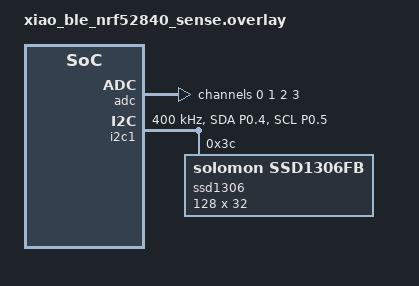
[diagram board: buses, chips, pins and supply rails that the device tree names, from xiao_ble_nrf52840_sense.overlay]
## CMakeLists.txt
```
cmake_minimum_required(VERSION 3.20.0)
find_package(Zephyr REQUIRED HINTS $ENV{ZEPHYR_BASE})

project(controller)

target_sources(app PRIVATE
    src/main.c
    src/IQS7211E.c
    src/i2c_arduino.c
    src/controller_storage.c
    src/drv2605.c
    src/display.c
    src/haptic_driver.c
    src/imu_driver.c
    src/button_driver.c
    src/analog_driver.c
    src/esb_comm_driver.c
    src/power_mgmt_driver.c
    # src/trackpad_driver.c  # Temporarily disabled while fixing IQS7211E
)
```

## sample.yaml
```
name: ESB Controller
```

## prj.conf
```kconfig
CONFIG_ESB=y
CONFIG_LOG=n
CONFIG_SERIAL=n
CONFIG_CONSOLE=n
CONFIG_UART_CONSOLE=n
CONFIG_GPIO=y
CONFIG_ADC_ASYNC=y
# Enable ADC for analog inputs
CONFIG_ADC=y

# Enable I2C for trackpad and display
CONFIG_I2C=y

# Disable NFC to free up P0.09 and P0.10 for DRV2605 haptic control
CONFIG_NFCT_PINS_AS_GPIOS=y

# Display support for SSD1306
CONFIG_DISPLAY=y
CONFIG_SSD1306=y

# LVGL Graphics Library (temporarily disabled - causing boot issues)
# CONFIG_LVGL=y
# CONFIG_LV_Z_VDB_SIZE=16
# CONFIG_LV_COLOR_DEPTH_1=y
# CONFIG_LV_Z_MEM_POOL_SIZE=8192

# Enable sensor subsystem for IMU
CONFIG_SENSOR=y
CONFIG_LSM6DSL=y

# Enable ESB
CONFIG_ESB_MAX_PAYLOAD_LENGTH=32

# Settings subsystem for NVS storage
CONFIG_SETTINGS=y
CONFIG_SETTINGS_NVS=y
CONFIG_NVS=y
CONFIG_FLASH=y
CONFIG_FLASH_MAP=y
CONFIG_MPU_ALLOW_FLASH_WRITE=y

# Power Management for nRF52840
CONFIG_PM=y
CONFIG_POWEROFF=y
CONFIG_PM_DEVICE=y
CONFIG_TICKLESS_KERNEL=y
CONFIG_GPIO_ENABLE_DISABLE_INTERRUPT=y

# Enable SAADC driver
CONFIG_NRFX_SAADC=y

# Logging levels
CONFIG_LOG_DEFAULT_LEVEL=3
CONFIG_ESB_LOG_LEVEL_INF=n
CONFIG_LOG_PRINTK=n
CONFIG_LOG_PROCESS_THREAD_STACK_SIZE=1024

# System
CONFIG_MAIN_STACK_SIZE=2048
CONFIG_SYSTEM_WORKQUEUE_STACK_SIZE=2048
```

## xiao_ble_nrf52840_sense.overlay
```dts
/*
 * Device tree overlay for Seeed Xiao BLE nRF52840 Sense
 * I2C0 and built-in LSM6DS3 IMU are already configured in base DTS
 * I2C1 reserved for external trackpad when connected
 */

/ {
    chosen {
        zephyr,display = &ssd1306;
    };

    /* Configure NFC pins as GPIOs for DRV2605 haptic control */
    nfct-pins-as-gpios;
};
&uart0 {
    status = "disabled";
};

/* Enable ADC for analog inputs */
&adc {
    status = "okay";
    #address-cells = <1>;
    #size-cells = <0>;

    channel@0 {
        reg = <0>;
        zephyr,gain = "ADC_GAIN_1_6";
        zephyr,reference = "ADC_REF_INTERNAL";
        zephyr,acquisition-time = <ADC_ACQ_TIME(ADC_ACQ_TIME_MICROSECONDS, 10)>;
        zephyr,input-positive = <NRF_SAADC_AIN0>; /* P0.02/StickX */
    };

    channel@1 {
        reg = <1>;
        zephyr,gain = "ADC_GAIN_1_6";
        zephyr,reference = "ADC_REF_INTERNAL";
        zephyr,acquisition-time = <ADC_ACQ_TIME(ADC_ACQ_TIME_MICROSECONDS, 10)>;
        zephyr,input-positive = <NRF_SAADC_AIN1>; /* P0.03/StickY */
    };

    channel@2 {
        reg = <2>;
        zephyr,gain = "ADC_GAIN_1_6";
        zephyr,reference = "ADC_REF_INTERNAL";
        zephyr,acquisition-time = <ADC_ACQ_TIME(ADC_ACQ_TIME_MICROSECONDS, 10)>;
        zephyr,input-positive = <NRF_SAADC_AIN4>; /* P0.28/Trigger */
    };

    channel@3 {
        reg = <3>;
        zephyr,gain = "ADC_GAIN_1_6";
        zephyr,reference = "ADC_REF_INTERNAL";
        zephyr,acquisition-time = <ADC_ACQ_TIME(ADC_ACQ_TIME_MICROSECONDS, 10)>;
        zephyr,input-positive = <NRF_SAADC_AIN7>; /* P0.31/Battery */
    };
};

&i2c1 {
    compatible = "nordic,nrf-twim";
    status = "okay";
    clock-frequency = <I2C_BITRATE_FAST>; // 400kHz

    pinctrl-0 = <&i2c1_default>;
    pinctrl-1 = <&i2c1_sleep>;
    pinctrl-names = "default", "sleep";

    /* --- TWIM internal buffer tuning --- */
    /* Max size of a single “flash-like” chunk the driver will send */
    zephyr,flash-buf-max-size = <255>;     /* or <255>; both are fine */

    /* Size of the internal concat buffer (must be >= addr/control bytes + chunk) */
    zephyr,concat-buf-size = <514>;        /* safe for 1 + 128; use <258> if you set 255 above */

    /* SSD1306 128x32 OLED display */
    ssd1306: ssd1306@3c {
        compatible = "solomon,ssd1306fb";
        reg = <0x3c>;
        width = <128>;
        height = <32>;
        segment-offset = <0>;
        page-offset = <0>;
        display-offset = <0>;
        multiplex-ratio = <31>;
        segment-remap;
        com-invdir;
        com-sequential;
        prechargep = <0x22>;
    };

    // Reserved for external trackpad when connected
};

&pinctrl {

    i2c1_default: i2c1_default {
        group1 {
            psels = <NRF_PSEL(TWIM_SDA, 0, 4)>,
                    <NRF_PSEL(TWIM_SCL, 0, 5)>;
        };
    };

    i2c1_sleep: i2c1_sleep {
        group1 {
            psels = <NRF_PSEL(TWIM_SDA, 0, 4)>,
                    <NRF_PSEL(TWIM_SCL, 0, 5)>;
            low-power-enable;
        };
    };
};
```

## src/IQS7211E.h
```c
/**
 ******************************************************************************
 * @file    IQS7211E.h
 * @brief   This file contains the header information for an IQS7211E Arduino
 *          library.
 *          The goal of the library is to provide easy functionality for
 *          initializing and using the Azoteq IQS7211E capacitive touch device.
 * @author  JN. Lochner - Azoteq PTY Ltd
 * @version V1.1
 * @date    2023
 ******************************************************************************
 ******************************************************************************
 * @attention  Makes use of the following standard Arduino libraries:
 *       - Arduino.h   -> included in IQS7211E.h, comes standard with Arduino
 *       - Wire.h      -> Included in IQS7211E.h, comes standard with Arduino
 *****************************************************************************/

#ifndef IQS7211E_h
#define IQS7211E_h

/* Include Files */
#include "i2c_arduino.h"
#include "./inc/iqs7211e_addresses.h"

/* Device Firmware version select */
#define IQS7211E_v1_0 1

/* Public Global Definitions */
/* For use with Wire.h library. True argument with some functions closes the
I2C communication window. */
#define STOP true
/* For use with Wire.h library. False argument with some functions keeps the
I2C communication window open. */
#define RESTART false

/* Device Info */
#define IQS7211E_PRODUCT_NUM 0x0458

// Info Flags Byte Bits.
#define IQS7211E_CHARGING_MODE_BIT_0 0
#define IQS7211E_CHARGING_MODE_BIT_1 1
#define IQS7211E_CHARGING_MODE_BIT_2 2
#define IQS7211E_ACTIVE_BITS 0b000
#define IQS7211E_IDLE_TOUCH_BITS 0b001
#define IQS7211E_IDLE_BITS 0b010
#define IQS7211E_LP1_BITS 0b011
#define IQS7211E_LP2_BITS 0b100
#define IQS7211E_ATI_ERROR_BIT 3
#define IQS7211E_RE_ATI_OCCURRED_BIT 4
#define IQS7211E_ALP_ATI_ERROR_BIT 5
#define IQS7211E_ALP_RE_ATI_OCCURRED_BIT 4
#define IQS7211E_SHOW_RESET_BIT 7
#define IQS7211E_NUM_FINGERS_BIT_0 0 // 8
#define IQS7211E_NUM_FINGERS_BIT_1 1 // 9
#define IQS7211E_NO_FINGERS_BITS 0b00
#define IQS7211E_1_FINGER_ACTIVE_BITS 0b01
#define IQS7211E_2_FINGER_ACTIVE_BITS 0b10
#define IQS7211E_TP_MOVEMENT_BIT 2      // 10
#define IQS7211E_TOO_MANY_FINGERS_BIT 4 // 12
#define IQS7211E_ALP_OUTPUT_BIT 6       // 14

// System Control Bits
#define IQS7211E_MODE_SELECT_BIT_0 0
#define IQS7211E_MODE_SELECT_BIT_1 1
#define IQS7211E_MODE_SELECT_BIT_2 2
#define IQS7211E_TP_RESEED_BIT 3
#define IQS7211E_ALP_RESEED_BIT 4
#define IQS7211E_TP_RE_ATI_BIT 5
#define IQS7211E_ALP_RE_ATI_BIT 6
#define IQS7211E_ACK_RESET_BIT 7
#define IQS7211E_SW_RESET_BIT 1 // 9
#define IQS7211E_SUSPEND_BIT 3  // 11

// Config Settings Bits
#define IQS7211E_EVENT_MODE_BIT 0 // 8

// Gesture Bits
#define IQS7211E_GESTURE_SINGLE_TAP_BIT 0
#define IQS7211E_GESTURE_DOUBLE_TAP_BIT 1
#define IQS7211E_GESTURE_TRIPLE_TAP_BIT 2
#define IQS7211E_GESTURE_PRESS_HOLD_BIT 3
#define IQS7211E_GESTURE_PALM_GESTURE_BIT 4
#define IQS7211E_GESTURE_SWIPE_X_POSITIVE_BIT 0      // 8
#define IQS7211E_GESTURE_SWIPE_X_NEGATIVE_BIT 1      // 9
#define IQS7211E_GESTURE_SWIPE_Y_POSITIVE_BIT 2      // 10
#define IQS7211E_GESTURE_SWIPE_Y_NEGATIVE_BIT 3      // 11
#define IQS7211E_GESTURE_SWIPE_HOLD_X_POSITIVE_BIT 4 // 12
#define IQS7211E_GESTURE_SWIPE_HOLD_X_NEGATIVE_BIT 5 // 13
#define IQS7211E_GESTURE_SWIPE_HOLD_Y_POSITIVE_BIT 6 // 14
#define IQS7211E_GESTURE_SWIPE_HOLD_Y_NEGATIVE_BIT 7 // 15

#define FINGER_1 1
#define FINGER_2 2

/* Defines and structs for IQS7211E states */
/**
 * @brief  iqs7211e Init Enumeration.
 */
typedef enum
{
    IQS7211E_INIT_NONE = (uint8_t)0x00,
    IQS7211E_INIT_VERIFY_PRODUCT,
    IQS7211E_INIT_READ_RESET,
    IQS7211E_INIT_CHIP_RESET,
    IQS7211E_INIT_UPDATE_SETTINGS,
    IQS7211E_INIT_CHECK_RESET,
    IQS7211E_INIT_ACK_RESET,
    IQS7211E_INIT_ATI,
    IQS7211E_INIT_WAIT_FOR_ATI,
    IQS7211E_INIT_READ_DATA,
    IQS7211E_INIT_ACTIVATE_EVENT_MODE,
    IQS7211E_INIT_ACTIVATE_STREAM_MODE,
    IQS7211E_INIT_DONE
} iqs7211e_init_e;

typedef enum
{
    IQS7211E_STATE_NONE = (uint8_t)0x00,
    IQS7211E_STATE_START,
    IQS7211E_STATE_INIT,
    IQS7211E_STATE_SW_RESET,
    IQS7211E_STATE_CHECK_RESET,
    IQS7211E_STATE_RUN,
} iqs7211e_state_e;

typedef enum
{
    IQS7211E_CH_NONE = (uint8_t)0x00,
    IQS7211E_CH_PROX,
    IQS7211E_CH_TOUCH,
    IQS7211E_CH_UNKNOWN,
} iqs7211e_ch_states;
typedef enum
{
    IQS7211E_ACTIVE = (uint8_t)0x00,
    IQS7211E_IDLE_TOUCH,
    IQS7211E_IDLE,
    IQS7211E_LP1,
    IQS7211E_LP2,
    IQS7211E_POWER_UNKNOWN
} iqs7211e_power_modes;

typedef enum
{
    IQS7211E_GESTURE_SINGLE_TAP = (uint8_t)0x00,
    IQS7211E_GESTURE_DOUBLE_TAP,
    IQS7211E_GESTURE_TRIPLE_TAP,
    IQS7211E_GESTURE_PRESS_HOLD,
    IQS7211E_GESTURE_PALM_GESTURE,
    IQS7211E_GESTURE_SWIPE_X_POSITIVE,
    IQS7211E_GESTURE_SWIPE_X_NEGATIVE,
    IQS7211E_GESTURE_SWIPE_Y_POSITIVE,
    IQS7211E_GESTURE_SWIPE_Y_NEGATIVE,
    IQS7211E_GESTURE_SWIPE_HOLD_X_POSITIVE,
    IQS7211E_GESTURE_SWIPE_HOLD_X_NEGATIVE,
    IQS7211E_GESTURE_SWIPE_HOLD_Y_POSITIVE,
    IQS7211E_GESTURE_SWIPE_HOLD_Y_NEGATIVE,
    IQS7211E_GESTURE_NONE,
} iqs7211e_gestures_e;

/* IQS7211E Memory map data variables, only save the data that might be used
during program runtime */
#pragma pack(1)
typedef struct
{
    /* READ ONLY */              //  I2C Addresses:
    uint8_t VERSION_DETAILS[20]; // 	0x00 -> 0x09
    uint8_t GESTURES[2];         // 	0x0E
    uint8_t INFO_FLAGS[2];       // 	0x0F
    uint8_t FINGER_1_X[2];       // 	0x10
    uint8_t FINGER_1_Y[2];       // 	0x11
    uint8_t FINGER_2_X[2];       // 	0x14
    uint8_t FINGER_2_Y[2];       // 	0x15

    /* READ WRITE */           //  I2C Addresses:
    uint8_t SYSTEM_CONTROL[2]; // 	0x33
} IQS7211E_MEMORY_MAP;
#pragma pack(4)

#pragma pack(1)
typedef struct
{
    iqs7211e_state_e state;
    iqs7211e_init_e init_state;
} iqs7211e_s;
#pragma pack(4)

typedef struct
{
    // Public variables from the class
    iqs7211e_s iqs7211e_state;
    IQS7211E_MEMORY_MAP IQSMemoryMap;
    bool new_data_available;

    // Private variables (previously private members)
    uint8_t _deviceAddress;
    uint8_t _readyPin; // You'll probably need this too
    ArduinoI2C wire; // Arduino-style I2C wrapper instance
} iqs7211e_instance_t;

/* Public Methods */
void iqs7211e_begin(iqs7211e_instance_t *instance, uint8_t deviceAddressIn, uint8_t readyPinIn);
bool iqs7211e_init(iqs7211e_instance_t *instance);
void iqs7211e_run(iqs7211e_instance_t *instance);
void iqs7211e_queueValueUpdates(iqs7211e_instance_t *instance);
bool iqs7211e_readATIactive(iqs7211e_instance_t *instance);
uint16_t iqs7211e_getProductNum(iqs7211e_instance_t *instance, bool stopOrRestart);
uint8_t iqs7211e_getmajorVersion(iqs7211e_instance_t *instance, bool stopOrRestart);
uint8_t iqs7211e_getminorVersion(iqs7211e_instance_t *instance, bool stopOrRestart);
void iqs7211e_acknowledgeReset(iqs7211e_instance_t *instance, bool stopOrRestart);
void iqs7211e_ReATI(iqs7211e_instance_t *instance, bool stopOrRestart);
void iqs7211e_SW_Reset(iqs7211e_instance_t *instance, bool stopOrRestart);
void iqs7211e_writeMM(iqs7211e_instance_t *instance, bool stopOrRestart);
void iqs7211e_clearRDY(iqs7211e_instance_t *instance, bool stopOrRestart);
bool iqs7211e_getRDYStatus(iqs7211e_instance_t *instance);

void iqs7211e_setStreamMode(iqs7211e_instance_t *instance, bool stopOrRestart);
void iqs7211e_setEventMode(iqs7211e_instance_t *instance, bool stopOrRestart);

void iqs7211e_updateInfoFlags(iqs7211e_instance_t *instance, bool stopOrRestart);
iqs7211e_power_modes iqs7211e_getPowerMode(iqs7211e_instance_t *instance, bool stopOrRestart);
bool iqs7211e_checkReset(iqs7211e_instance_t *instance, bool stopOrRestart);
void iqs7211e_updateAbsCoordinates(iqs7211e_instance_t *instance, bool stopOrRestart, uint8_t fingerNum);
uint16_t iqs7211e_getAbsYCoordinate(iqs7211e_instance_t *instance, uint8_t fingerNum);
uint16_t iqs7211e_getAbsXCoordinate(iqs7211e_instance_t *instance, uint8_t fingerNum);
bool iqs7211e_touchpad_event_occurred(iqs7211e_instance_t *instance);
iqs7211e_gestures_e iqs7211e_get_touchpad_event(iqs7211e_instance_t *instance);
uint8_t iqs7211e_getNumFingers(iqs7211e_instance_t *instance);

void iqs7211e_force_I2C_communication(iqs7211e_instance_t *instance);

/* Utility functions (previously private) */
void iqs7211e_readRandomBytes(iqs7211e_instance_t *instance, uint8_t memoryAddress, uint8_t numBytes, uint8_t bytesArray[], bool stopOrRestart);
void iqs7211e_writeRandomBytes(iqs7211e_instance_t *instance, uint8_t memoryAddress, uint8_t numBytes, uint8_t bytesArray[], bool stopOrRestart);
bool iqs7211e_getBit(uint8_t data, uint8_t bit_number);
uint8_t iqs7211e_setBit(uint8_t data, uint8_t bit_number);
uint8_t iqs7211e_clearBit(uint8_t data, uint8_t bit_number);

#endif /* IQS7211E_h */
```

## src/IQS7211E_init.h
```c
/*
* This file contains all the necessary settings for the IQS7211E and this file can
* be changed from the GUI or edited here
* File:   IQS7211E_init.h
* Author: Azoteq
*/ 

#ifndef IQS7211E_INIT_H
#define IQS7211E_INIT_H

/* Change the ALP ATI Compensation */
/* Memory Map Position 0x1F - 0x20 */
#define ALP_COMPENSATION_A_0                     0x51
#define ALP_COMPENSATION_A_1                     0x01
#define ALP_COMPENSATION_B_0                     0x5A
#define ALP_COMPENSATION_B_1                     0x01

/* Change the ATI Settings */
/* Memory Map Position 0x21 - 0x27 */
#define TP_ATI_MULTIPLIERS_DIVIDERS_0            0xE1
#define TP_ATI_MULTIPLIERS_DIVIDERS_1            0x21
#define TP_COMPENSATION_DIV                      0x06
#define TP_REF_DRIFT_LIMIT                       0x32
#define TP_ATI_TARGET_0                          0x2C
#define TP_ATI_TARGET_1                          0x01
#define TP_MIN_COUNT_REATI_0                     0x32
#define TP_MIN_COUNT_REATI_1                     0x00
#define ALP_ATI_MULTIPLIERS_DIVIDERS_0           0x23
#define ALP_ATI_MULTIPLIERS_DIVIDERS_1           0x02
#define ALP_COMPENSATION_DIV                     0x02
#define ALP_LTA_DRIFT_LIMIT                      0x14
#define ALP_ATI_TARGET_0                         0xC8
#define ALP_ATI_TARGET_1                         0x00

/* Change the Report Rates and Timing */
/* Memory Map Position 0x28 - 0x32 */
#define ACTIVE_MODE_REPORT_RATE_0                0x01
#define ACTIVE_MODE_REPORT_RATE_1                0x00
#define IDLE_TOUCH_MODE_REPORT_RATE_0            0x40
#define IDLE_TOUCH_MODE_REPORT_RATE_1            0x00
#define IDLE_MODE_REPORT_RATE_0                  0x20
#define IDLE_MODE_REPORT_RATE_1                  0x00
#define LP1_MODE_REPORT_RATE_0                   0x80
#define LP1_MODE_REPORT_RATE_1                   0x00
#define LP2_MODE_REPORT_RATE_0                   0x00
#define LP2_MODE_REPORT_RATE_1                   0x01
#define ACTIVE_MODE_TIMEOUT_0                    0x1E
#define ACTIVE_MODE_TIMEOUT_1                    0x00
#define IDLE_TOUCH_MODE_TIMEOUT_0                0x3C
#define IDLE_TOUCH_MODE_TIMEOUT_1                0x00
#define IDLE_MODE_TIMEOUT_0                      0x1E
#define IDLE_MODE_TIMEOUT_1                      0x00
#define LP1_MODE_TIMEOUT_0                       0x1E
#define LP1_MODE_TIMEOUT_1                       0x00
#define REATI_RETRY_TIME                         0x05
#define REF_UPDATE_TIME                          0x08
#define I2C_TIMEOUT_0                            0x64
#define I2C_TIMEOUT_1                            0x00

/* Change the System Settings */
/* Memory Map Position 0x33 - 0x35 */
#define SYSTEM_CONTROL_0                         0x00
#define SYSTEM_CONTROL_1                         0x00
#define CONFIG_SETTINGS0                         0x8C
#define CONFIG_SETTINGS1                         0x45
#define OTHER_SETTINGS_0                         0x10
#define OTHER_SETTINGS_1                         0x00

/* Change the ALP Settings */
/* Memory Map Position 0x36 - 0x37 */
#define ALP_SETUP_0                              0x77
#define ALP_SETUP_1                              0x03
#define ALP_TX_ENABLE_0                          0x08
#define ALP_TX_ENABLE_1                          0x05

/* Change the Thresholds and Debounce Settings */
/* Memory Map Position 0x38 - 0x3A */
#define TRACKPAD_TOUCH_SET_THRESHOLD             0x14
#define TRACKPAD_TOUCH_CLEAR_THRESHOLD           0x0E
#define ALP_THRESHOLD_0                          0x08
#define ALP_THRESHOLD_1                          0x00
#define ALP_SET_DEBOUNCE                         0x04
#define ALP_CLEAR_DEBOUNCE                       0x04

/* Change the Button and ALP count and LTA betas */
/* Memory Map Position 0x3B - 0x3C */
#define ALP_COUNT_BETA_LP1                       0xDC
#define ALP_LTA_BETA_LP1                         0x08
#define ALP_COUNT_BETA_LP2                       0xF0
#define ALP_LTA_BETA_LP2                         0x10

/* Change the Hardware Settings */
/* Memory Map Position 0x3D - 0x40 */
#define TP_CONVERSION_FREQUENCY_UP_PASS_LENGTH   0x02
#define TP_CONVERSION_FREQUENCY_FRACTION_VALUE   0x1A
#define ALP_CONVERSION_FREQUENCY_UP_PASS_LENGTH  0x02
#define ALP_CONVERSION_FREQUENCY_FRACTION_VALUE  0x1A
#define TRACKPAD_HARDWARE_SETTINGS_0             0x03
#define TRACKPAD_HARDWARE_SETTINGS_1             0x9C
#define ALP_HARDWARE_SETTINGS_0                  0x23
#define ALP_HARDWARE_SETTINGS_1                  0x9C

/* Change the Trackpad Settings */
/* Memory Map Position 0x41 - 0x49 */
#define TRACKPAD_SETTINGS_0_0                    0x28
#define TRACKPAD_SETTINGS_0_1                    0x06
#define TRACKPAD_SETTINGS_1_0                    0x06
#define TRACKPAD_SETTINGS_1_1                    0x02
#define X_RESOLUTION_0                           0xFF
#define X_RESOLUTION_1                           0x03
#define Y_RESOLUTION_0                           0xFF
#define Y_RESOLUTION_1                           0x03
#define XY_DYNAMIC_FILTER_BOTTOM_SPEED_0         0x02
#define XY_DYNAMIC_FILTER_BOTTOM_SPEED_1         0x00
#define XY_DYNAMIC_FILTER_TOP_SPEED_0            0x10
#define XY_DYNAMIC_FILTER_TOP_SPEED_1            0x00
#define XY_DYNAMIC_FILTER_BOTTOM_BETA            0x01
#define XY_DYNAMIC_FILTER_STATIC_FILTER_BETA     0x00
#define STATIONARY_TOUCH_MOV_THRESHOLD           0x14
#define FINGER_SPLIT_FACTOR                      0x03
#define X_TRIM_VALUE                             0x14
#define Y_TRIM_VALUE                             0x14

/* Change the Settings Version Numbers */
/* Memory Map Position 0x4A - 0x4A */
#define MINOR_VERSION                            0x00
#define MAJOR_VERSION                            0x00

/* Change the Gesture Settings */
/* Memory Map Position 0x4B - 0x55 */
#define GESTURE_ENABLE_0                         0x00
#define GESTURE_ENABLE_1                         0x00
#define TAP_TOUCH_TIME_0                         0xC8
#define TAP_TOUCH_TIME_1                         0x00
#define TAP_WAIT_TIME_0                          0x96
#define TAP_WAIT_TIME_1                          0x00
#define TAP_DISTANCE_0                           0x32
#define TAP_DISTANCE_1                           0x00
#define HOLD_TIME_0                              0x2C
#define HOLD_TIME_1                              0x01
#define SWIPE_TIME_0                             0x96
#define SWIPE_TIME_1                             0x00
#define SWIPE_X_DISTANCE_0                       0xC8
#define SWIPE_X_DISTANCE_1                       0x00
#define SWIPE_Y_DISTANCE_0                       0xC8
#define SWIPE_Y_DISTANCE_1                       0x00
#define SWIPE_X_CONS_DIST_0                      0x64
#define SWIPE_X_CONS_DIST_1                      0x00
#define SWIPE_Y_CONS_DIST_0                      0x64
#define SWIPE_Y_CONS_DIST_1                      0x00
#define SWIPE_ANGLE                              0x17
#define PALM_THRESHOLD                           0x1E

/* Change the RxTx Mapping */
/* Memory Map Position 0x56 - 0x5C */
#define RX_TX_MAP_0                              0x01
#define RX_TX_MAP_1                              0x02
#define RX_TX_MAP_2                              0x00
#define RX_TX_MAP_3                              0x05
#define RX_TX_MAP_4                              0x04
#define RX_TX_MAP_5                              0x06
#define RX_TX_MAP_6                              0x03
#define RX_TX_MAP_7                              0x07
#define RX_TX_MAP_8                              0x08
#define RX_TX_MAP_9                              0x09
#define RX_TX_MAP_10                             0x0A
#define RX_TX_MAP_11                             0x0B
#define RX_TX_MAP_12                             0x0C
#define RX_TX_MAP_FILLER                         0x00

/* Change the Allocation of channels into cycles 0-9 */
/* Memory Map Position 0x5D - 0x6B */
#define PLACEHOLDER_0                            0x05
#define CH_1_CYCLE_0                             0x00
#define CH_2_CYCLE_0                             0x03
#define PLACEHOLDER_1                            0x05
#define CH_1_CYCLE_1                             0x01
#define CH_2_CYCLE_1                             0x04
#define PLACEHOLDER_2                            0x05
#define CH_1_CYCLE_2                             0x02
#define CH_2_CYCLE_2                             0x05
#define PLACEHOLDER_3                            0x05
#define CH_1_CYCLE_3                             0x06
#define CH_2_CYCLE_3                             0x09
#define PLACEHOLDER_4                            0x05
#define CH_1_CYCLE_4                             0x07
#define CH_2_CYCLE_4                             0x0A
#define PLACEHOLDER_5                            0x05
#define CH_1_CYCLE_5                             0x08
#define CH_2_CYCLE_5                             0x0B
#define PLACEHOLDER_6                            0x05
#define CH_1_CYCLE_6                             0x0C
#define CH_2_CYCLE_6                             0x0F
#define PLACEHOLDER_7                            0x05
#define CH_1_CYCLE_7                             0x0D
#define CH_2_CYCLE_7                             0x10
#define PLACEHOLDER_8                            0x05
#define CH_1_CYCLE_8                             0x0E
#define CH_2_CYCLE_8                             0x11
#define PLACEHOLDER_9                            0x05
#define CH_1_CYCLE_9                             0x12
#define CH_2_CYCLE_9                             0x15

/* Change the Allocation of channels into cycles 10-19 */
/* Memory Map Position 0x6C - 0x7A */
#define PLACEHOLDER_10                           0x05
#define CH_1_CYCLE_10                            0x13
#define CH_2_CYCLE_10                            0x16
#define PLACEHOLDER_11                           0x05
#define CH_1_CYCLE_11                            0x14
#define CH_2_CYCLE_11                            0x17
#define PLACEHOLDER_12                           0x05
#define CH_1_CYCLE_12                            0x18
#define CH_2_CYCLE_12                            0x1B
#define PLACEHOLDER_13                           0x05
#define CH_1_CYCLE_13                            0x19
#define CH_2_CYCLE_13                            0x1C
#define PLACEHOLDER_14                           0x05
#define CH_1_CYCLE_14                            0x1A
#define CH_2_CYCLE_14                            0x1D
#define PLACEHOLDER_15                           0x05
#define CH_1_CYCLE_15                            0x20
#define CH_2_CYCLE_15                            0x21
#define PLACEHOLDER_16                           0x05
#define CH_1_CYCLE_16                            0x1F
#define CH_2_CYCLE_16                            0x22
#define PLACEHOLDER_17                           0x05
#define CH_1_CYCLE_17                            0x1E
#define CH_2_CYCLE_17                            0x23
#define PLACEHOLDER_18                           0x05
#define CH_1_CYCLE_18                            0xFF
#define CH_2_CYCLE_18                            0xFF
#define PLACEHOLDER_19                           0x05
#define CH_1_CYCLE_19                            0xFF
#define CH_2_CYCLE_19                            0xFF

/* Change the Allocation of channels into cycles 20 */
/* Memory Map Position 0x7B - 0x7C */
#define PLACEHOLDER_20                           0x05
#define CH_1_CYCLE_20                            0xFF
#define CH_2_CYCLE_20                            0xFF

#endif	/* IQS7211E_INIT_H */
```

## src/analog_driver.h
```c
/**
 ******************************************************************************
 * @file    analog_driver.h
 * @brief   ADC Analog Input Driver Library for Controller
 * @author  Controller Team
 * @version V1.0
 * @date    2025
 ******************************************************************************
 * @attention
 * 
 * This library provides a clean interface for managing ADC analog inputs
 * including analog sticks, triggers, and other analog sensors with
 * calibration, filtering, and deadzone support.
 * 
 ******************************************************************************
 */

#ifndef ANALOG_DRIVER_H
#define ANALOG_DRIVER_H

#include <zephyr/kernel.h>
#include <zephyr/drivers/adc.h>
#include <stdint.h>
#include <stdbool.h>

// Analog status enumeration
typedef enum {
    ANALOG_STATUS_OK = 0,
    ANALOG_STATUS_ERROR = -1,
    ANALOG_STATUS_NOT_INITIALIZED = -2,
    ANALOG_STATUS_INVALID_CHANNEL = -3,
    ANALOG_STATUS_CALIBRATION_FAILED = -4,
    ANALOG_STATUS_ADC_ERROR = -5
} analog_status_t;

// Analog channel enumeration
typedef enum {
    ANALOG_CHANNEL_STICK_X = 0,
    ANALOG_CHANNEL_STICK_Y,
    ANALOG_CHANNEL_TRIGGER,
    ANALOG_CHANNEL_BATTERY,     // Battery voltage monitoring
    ANALOG_CHANNEL_COUNT  // Total number of analog channels
} analog_channel_id_t;

// Analog input configuration
typedef struct {
    uint8_t adc_channel;        // ADC channel number
    uint32_t adc_input;         // ADC input pin (e.g., NRF_SAADC_INPUT_AIN0)
    const char *name;           // Human-readable name
} analog_channel_config_t;

// Calibration data for an analog channel
typedef struct {
    int16_t center_value;       // Center/neutral position value
    int16_t min_value;          // Minimum expected value
    int16_t max_value;          // Maximum expected value
    int16_t deadzone;           // Deadzone around center
    bool is_calibrated;         // True if channel has been calibrated
} analog_calibration_t;

// Filtered analog data
typedef struct {
    int16_t raw_value;          // Raw ADC reading
    float filtered_value;       // Low-pass filtered value
    union {
        int8_t stick_value;     // Stick value (-127 to +127)
        uint8_t trigger_value;  // Trigger value (0 to 255)
    } controller_value;         // Scaled value for controller
    bool in_deadzone;           // True if value is within deadzone
} analog_data_t;

// Analog driver configuration
typedef struct {
    uint16_t resolution_bits;   // ADC resolution (e.g., 12)
    uint32_t gain;              // ADC gain setting
    uint32_t reference;         // ADC reference voltage
    uint32_t acquisition_time;  // ADC acquisition time
    float filter_alpha;         // Low-pass filter coefficient (0.0-1.0)
} analog_config_t;

// Analog driver context
typedef struct {
    bool initialized;
    const struct device *adc_dev;
    analog_config_t config;
    analog_channel_config_t channel_configs[ANALOG_CHANNEL_COUNT];
    struct adc_channel_cfg adc_channel_configs[ANALOG_CHANNEL_COUNT];
    analog_calibration_t calibrations[ANALOG_CHANNEL_COUNT];
    analog_data_t channel_data[ANALOG_CHANNEL_COUNT];
    int16_t raw_buffer[ANALOG_CHANNEL_COUNT];
    bool filter_initialized;
    uint32_t sample_count;
    
    // Thread-based ADC reading
    struct k_thread adc_thread_data;
    k_tid_t adc_thread_tid;
    struct k_mutex data_mutex;  // Protect channel_data access
    bool thread_running;
    bool thread_stop_requested;
} analog_driver_context_t;

// Controller analog data structure (matches main.c format)
typedef struct {
    int8_t stick_x;     // Analog stick X (-127 to +127)
    int8_t stick_y;     // Analog stick Y (-127 to +127)
    uint8_t trigger;    // Trigger value (0 to 255)
} analog_controller_data_t;

// Function prototypes

/**
 * @brief Initialize the analog driver with SAADC offset calibration
 * @param adc_device Pointer to ADC device
 * @return analog_status_t Status of initialization
 */
analog_status_t analog_driver_init(const struct device *adc_device);

/**
 * @brief Start the ADC reading thread
 * @return analog_status_t Status of thread start operation
 */
analog_status_t analog_driver_start_thread(void);

/**
 * @brief Stop the ADC reading thread
 * @return analog_status_t Status of thread stop operation
 */
analog_status_t analog_driver_stop_thread(void);

/**
 * @brief Get controller-format analog data (thread-safe)
 * @param data Pointer to analog_controller_data_t structure to fill
 * @return analog_status_t Status of operation
 */
analog_status_t analog_driver_get_controller_data(analog_controller_data_t *data);

/**
 * @brief Get battery voltage in millivolts (thread-safe)
 * @param voltage_mv Pointer to store battery voltage in mV
 * @return analog_status_t Status of operation
 */
analog_status_t analog_driver_get_battery_voltage(uint16_t *voltage_mv);

/**
 * @brief Get raw ADC value for a specific channel
 * @param channel_id Channel to read
 * @param raw_value Pointer to store raw ADC value
 * @return analog_status_t Status of operation
 */
analog_status_t analog_driver_get_raw_value(analog_channel_id_t channel_id, int16_t *raw_value);

/**
 * @brief Get filtered value for a specific channel
 * @param channel_id Channel to read
 * @param filtered_value Pointer to store filtered value
 * @return analog_status_t Status of operation
 */
analog_status_t analog_driver_get_filtered_value(analog_channel_id_t channel_id, float *filtered_value);

/**
 * @brief Get controller-scaled value for a specific channel
 * @param channel_id Channel to read
 * @param controller_value Pointer to store controller value
 * @return analog_status_t Status of operation
 */
analog_status_t analog_driver_get_controller_value(analog_channel_id_t channel_id, int8_t *controller_value);

/**
 * @brief Calibrate a specific analog channel
 * @param channel_id Channel to calibrate
 * @param center_value Center/neutral position value
 * @param min_value Minimum expected value
 * @param max_value Maximum expected value
 * @param deadzone Deadzone around center
 * @return analog_status_t Status of calibration
 */
analog_status_t analog_driver_calibrate_channel(analog_channel_id_t channel_id, 
                                               int16_t center_value, 
                                               int16_t min_value, 
                                               int16_t max_value, 
                                               int16_t deadzone);

/**
 * @brief Auto-calibrate analog stick channels (call with stick centered)
 * @param samples Number of samples to average for calibration
 * @return analog_status_t Status of auto-calibration
 */
analog_status_t analog_driver_auto_calibrate_sticks(uint16_t samples);

/**
 * @brief Auto-calibrate trigger channel (call with trigger released)
 * @param samples Number of samples to average for calibration
 * @return analog_status_t Status of auto-calibration
 */
analog_status_t analog_driver_auto_calibrate_trigger(uint16_t samples);

/**
 * @brief Set filter coefficient for low-pass filtering
 * @param alpha Filter coefficient (0.0 = heavy filtering, 1.0 = no filtering)
 * @return analog_status_t Status of operation
 */
analog_status_t analog_driver_set_filter_alpha(float alpha);

/**
 * @brief Check if a channel is in its deadzone
 * @param channel_id Channel to check
 * @return bool True if in deadzone, false otherwise
 */
bool analog_driver_is_in_deadzone(analog_channel_id_t channel_id);

/**
 * @brief Get calibration data for a channel
 * @param channel_id Channel to get calibration for
 * @param calibration Pointer to store calibration data
 * @return analog_status_t Status of operation
 */
analog_status_t analog_driver_get_calibration(analog_channel_id_t channel_id, 
                                             analog_calibration_t *calibration);

/**
 * @brief Set calibration data for a channel
 * @param channel_id Channel to set calibration for
 * @param calibration Pointer to calibration data
 * @return analog_status_t Status of operation
 */
analog_status_t analog_driver_set_calibration(analog_channel_id_t channel_id, 
                                             const analog_calibration_t *calibration);

/**
 * @brief Get driver statistics
 * @param total_samples Pointer to store total samples taken
 * @param active_channels Pointer to store number of active channels
 * @return analog_status_t Status of operation
 */
analog_status_t analog_driver_get_stats(uint32_t *total_samples, uint8_t *active_channels);

/**
 * @brief Check if analog driver is properly initialized
 * @return bool True if initialized, false otherwise
 */
bool analog_driver_is_initialized(void);

/**
 * @brief Reset filter state (call when stick positions change rapidly)
 * @return analog_status_t Status of operation
 */
analog_status_t analog_driver_reset_filters(void);

/**
 * @brief Get human-readable name for a channel
 * @param channel_id Channel ID
 * @return const char* Channel name string
 */
const char* analog_driver_get_channel_name(analog_channel_id_t channel_id);

/**
 * @brief Perform a complete calibration sequence for all channels
 * @param delay_ms Delay between calibration steps in milliseconds
 * @return analog_status_t Status of complete calibration
 */
analog_status_t analog_driver_full_calibration(uint32_t delay_ms);

#endif // ANALOG_DRIVER_H
```

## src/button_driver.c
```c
/**
 ******************************************************************************
 * @file    button_driver.c
 * @brief   GPIO Button Driver Library Implementation
 * @author  Controller Team
 * @version V1.0
 * @date    2025
 ******************************************************************************
 */

#include "button_driver.h"
#include "haptic_driver.h" // For haptic feedback
#include <zephyr/logging/log.h>

LOG_MODULE_REGISTER(button_driver, LOG_LEVEL_INF);

// Global context
static button_driver_context_t g_button_ctx = {0};

// Button name strings for debugging
static const char *button_names[BUTTON_COUNT] = {
    "STICK_CLICK",
    "BUMPER",
    "START",
    "P4",
    "P5",
    "MODE",
    "DPAD_DOWN",
    "DPAD_LEFT",
    "DPAD_RIGHT",
    "DPAD_UP",
    "PAD_CLICK"};

/**
 * @brief Initialize the button driver with GPIO specifications
 */
button_status_t button_driver_init(
    const struct gpio_dt_spec *stick_click,
    const struct gpio_dt_spec *bumper,
    const struct gpio_dt_spec *start,
    const struct gpio_dt_spec *button_p4,
    const struct gpio_dt_spec *button_p5,
    const struct gpio_dt_spec *mode_button,
    const struct gpio_dt_spec *dpad_down,
    const struct gpio_dt_spec *dpad_left,
    const struct gpio_dt_spec *dpad_right,
    const struct gpio_dt_spec *dpad_up,
    const struct gpio_dt_spec *pad_click)
{
    LOG_INF("Initializing button driver...");

    // Clear context
    memset(&g_button_ctx, 0, sizeof(g_button_ctx));

    // Store GPIO specifications
    const struct gpio_dt_spec *gpio_specs[BUTTON_COUNT] = {
        stick_click, // BUTTON_STICK_CLICK
        bumper,      // BUTTON_BUMPER
        start,       // BUTTON_START
        button_p4,   // BUTTON_P4
        button_p5,   // BUTTON_P5
        mode_button, // BUTTON_MODE
        dpad_down,   // BUTTON_DPAD_DOWN
        dpad_left,   // BUTTON_DPAD_LEFT
        dpad_right,  // BUTTON_DPAD_RIGHT
        dpad_up,     // BUTTON_DPAD_UP
        pad_click    // BUTTON_PAD_CLICK
    };

    // Configure each button
    for (int i = 0; i < BUTTON_COUNT; i++)
    {
        if (!gpio_specs[i])
        {
            LOG_ERR("Button %d (%s) GPIO spec is NULL", i, button_names[i]);
            return BUTTON_STATUS_ERROR;
        }

        // Store configuration
        g_button_ctx.button_configs[i].gpio_spec = gpio_specs[i];
        g_button_ctx.button_configs[i].active_low = (gpio_specs[i]->dt_flags & GPIO_ACTIVE_LOW) != 0;
        g_button_ctx.button_configs[i].pull_up = true; // All buttons use pull-up

        // Configure GPIO
        int ret = gpio_pin_configure_dt(gpio_specs[i], GPIO_INPUT | GPIO_PULL_UP);
        if (ret != 0)
        {
            LOG_ERR("Failed to configure button %d (%s): %d", i, button_names[i], ret);
            return BUTTON_STATUS_ERROR;
        }

        // Initialize button state
        g_button_ctx.button_states[i].current_state = false;
        g_button_ctx.button_states[i].previous_state = false;
        g_button_ctx.button_states[i].press_time = 0;
        g_button_ctx.button_states[i].release_time = 0;
        g_button_ctx.button_states[i].is_pressed = false;
        g_button_ctx.button_states[i].just_pressed = false;
        g_button_ctx.button_states[i].just_released = false;

        LOG_INF("Button %d (%s) configured successfully", i, button_names[i]);
    }

    // Enable haptic feedback by default
    g_button_ctx.haptic_feedback_enabled = true;
    g_button_ctx.initialized = true;
    g_button_ctx.scan_count = 0;

    LOG_INF("Button driver initialized with %d buttons", BUTTON_COUNT);
    return BUTTON_STATUS_OK;
}

/**
 * @brief Scan all buttons and update their states
 */
button_status_t button_driver_scan(void)
{
    if (!g_button_ctx.initialized)
    {
        return BUTTON_STATUS_NOT_INITIALIZED;
    }

    uint32_t current_time = k_uptime_get_32();
    bool any_button_just_pressed = false;

    // Scan each button
    for (int i = 0; i < BUTTON_COUNT; i++)
    {
        button_state_t *state = &g_button_ctx.button_states[i];
        const button_config_t *config = &g_button_ctx.button_configs[i];

        // Store previous state
        state->previous_state = state->current_state;

        // Read current GPIO state
        int gpio_value = gpio_pin_get_dt(config->gpio_spec);
        if (gpio_value < 0)
        {
            LOG_WRN("Failed to read button %d (%s): %d", i, button_names[i], gpio_value);
            continue;
        }

        // Convert GPIO value to button state (considering active_low)
        if (config->active_low)
        {
            state->current_state = !(gpio_value == 0); // Active low: 0 = pressed
        }
        else
        {
            state->current_state = !(gpio_value == 1); // Active high: 1 = pressed
        }

        // Update edge detection flags
        state->just_pressed = (!state->previous_state && state->current_state);
        state->just_released = (state->previous_state && !state->current_state);
        state->is_pressed = state->current_state;

        // Update timing
        if (state->just_pressed)
        {
            state->press_time = current_time;
            any_button_just_pressed = true;
        }
        else if (state->just_released)
        {
            state->release_time = current_time;
        }
    }

    // Provide haptic feedback for button presses
    // if (any_button_just_pressed && g_button_ctx.haptic_feedback_enabled)
    // {
    //     if (haptic_is_available())
    //     {
    //         haptic_play_pattern(HAPTIC_PATTERN_BUTTON_PRESS);
    //     }
    // }

    g_button_ctx.scan_count++;
    return BUTTON_STATUS_OK;
}

/**
 * @brief Get current button data in controller format
 */
button_status_t button_driver_get_data(button_data_t *data)
{
    if (!g_button_ctx.initialized)
    {
        return BUTTON_STATUS_NOT_INITIALIZED;
    }

    if (!data)
    {
        return BUTTON_STATUS_ERROR;
    }

    // Clear data structure
    data->buttons = 0;
    data->flags = 0;

    // Map button states to controller data format
    // Buttons format: Start/Select(0x80), Trackpad Click(0x40), Stick Click(0x20), Bumper(0x10), A/Down(0x08), B/Right(0x04), X/Left(0x02), Y/Up(0x01)
    if (g_button_ctx.button_states[BUTTON_START].is_pressed) {
        data->buttons |= 0x80; // Bit 7: Start/Select
    }
    if (g_button_ctx.button_states[BUTTON_PAD_CLICK].is_pressed) {
        data->buttons |= 0x40; // Bit 6: Trackpad Click
    }
    if (g_button_ctx.button_states[BUTTON_STICK_CLICK].is_pressed) {
        data->buttons |= 0x20; // Bit 5: Stick click
    }
    if (g_button_ctx.button_states[BUTTON_BUMPER].is_pressed) {
        data->buttons |= 0x10; // Bit 4: Bumper (L1)
    }
    if (g_button_ctx.button_states[BUTTON_DPAD_DOWN].is_pressed) {
        data->buttons |= 0x08; // Bit 3: A/Down
    }
    if (g_button_ctx.button_states[BUTTON_DPAD_RIGHT].is_pressed) {
        data->buttons |= 0x04; // Bit 2: B/Right
    }
    if (g_button_ctx.button_states[BUTTON_DPAD_LEFT].is_pressed) {
        data->buttons |= 0x02; // Bit 1: X/Left
    }
    if (g_button_ctx.button_states[BUTTON_DPAD_UP].is_pressed) {
        data->buttons |= 0x01; // Bit 0: Y/Up
    }

    // Flags format: ID(0x80), Mode1(0x40), Mode2(0x20), TBD(0x10), TBD(0x08), TrackpadTap(0x04), P4(0x02), P5(0x01)
    // Note: You might want to set ID bit if this is a specific controller
    // data->flags |= 0x80; // ID bit - uncomment if needed
    
    if (g_button_ctx.button_states[BUTTON_MODE].is_pressed) {
        data->flags |= 0x40; // Bit 6: Mode1 button
    }
    // If you have a second mode button, map it to:
    // data->flags |= 0x20; // Bit 5: Mode2 button
    
    // Bit 4 and 3 are marked as TBD (To Be Determined)
    
    // Note: TrackpadTap might be different from TrackpadClick - you may need to distinguish these
    // For now, I'll leave this bit available for a different trackpad gesture
    // data->flags |= 0x04; // Bit 2: TrackpadTap (different from click?)
    
    if (g_button_ctx.button_states[BUTTON_P4].is_pressed) {
        data->flags |= 0x02; // Bit 1: P4 button
    }
    if (g_button_ctx.button_states[BUTTON_P5].is_pressed) {
        data->flags |= 0x01; // Bit 0: P5 button
    }

    // LOG_INF("Buttons: %c%c%c%c%c%c%c%c (0x%02X) Flags: %c%c%c%c%c%c%c%c (0x%02X)",
    //         (data->buttons & 0x80) ? '1' : '0',
    //         (data->buttons & 0x40) ? '1' : '0',
    //         (data->buttons & 0x20) ? '1' : '0',
    //         (data->buttons & 0x10) ? '1' : '0',
    //         (data->buttons & 0x08) ? '1' : '0',
    //         (data->buttons & 0x04) ? '1' : '0',
    //         (data->buttons & 0x02) ? '1' : '0',
    //         (data->buttons & 0x01) ? '1' : '0',
    //         data->buttons,
    //         (data->flags & 0x80) ? '1' : '0',
    //         (data->flags & 0x40) ? '1' : '0',
    //         (data->flags & 0x20) ? '1' : '0',
    //         (data->flags & 0x10) ? '1' : '0',
    //         (data->flags & 0x08) ? '1' : '0',
    //         (data->flags & 0x04) ? '1' : '0',
    //         (data->flags & 0x02) ? '1' : '0',
    //         (data->flags & 0x01) ? '1' : '0',
    //         data->flags);

    // Store current data in context
    g_button_ctx.current_data = *data;

    return BUTTON_STATUS_OK;
}

/**
 * @brief Check if a specific button is currently pressed
 */
bool button_driver_is_pressed(button_id_t button_id)
{
    if (!g_button_ctx.initialized || button_id >= BUTTON_COUNT)
    {
        return false;
    }

    return g_button_ctx.button_states[button_id].is_pressed;
}

/**
 * @brief Check if a specific button was just pressed (edge detection)
 */
bool button_driver_just_pressed(button_id_t button_id)
{
    if (!g_button_ctx.initialized || button_id >= BUTTON_COUNT)
    {
        return false;
    }

    return g_button_ctx.button_states[button_id].just_pressed;
}

/**
 * @brief Check if a specific button was just released (edge detection)
 */
bool button_driver_just_released(button_id_t button_id)
{
    if (!g_button_ctx.initialized || button_id >= BUTTON_COUNT)
    {
        return false;
    }

    return g_button_ctx.button_states[button_id].just_released;
}

/**
 * @brief Get the duration a button has been pressed
 */
uint32_t button_driver_get_press_duration(button_id_t button_id)
{
    if (!g_button_ctx.initialized || button_id >= BUTTON_COUNT)
    {
        return 0;
    }

    const button_state_t *state = &g_button_ctx.button_states[button_id];

    if (!state->is_pressed)
    {
        return 0; // Button not currently pressed
    }

    return k_uptime_get_32() - state->press_time;
}

/**
 * @brief Enable or disable haptic feedback for button presses
 */
button_status_t button_driver_set_haptic_feedback(bool enable)
{
    if (!g_button_ctx.initialized)
    {
        return BUTTON_STATUS_NOT_INITIALIZED;
    }

    g_button_ctx.haptic_feedback_enabled = enable;
    LOG_INF("Button haptic feedback %s", enable ? "enabled" : "disabled");

    return BUTTON_STATUS_OK;
}

/**
 * @brief Get current button statistics
 */
button_status_t button_driver_get_stats(uint32_t *total_scans, uint8_t *active_buttons)
{
    if (!g_button_ctx.initialized)
    {
        return BUTTON_STATUS_NOT_INITIALIZED;
    }

    if (total_scans)
    {
        *total_scans = g_button_ctx.scan_count;
    }

    if (active_buttons)
    {
        uint8_t count = 0;
        for (int i = 0; i < BUTTON_COUNT; i++)
        {
            if (g_button_ctx.button_states[i].is_pressed)
            {
                count++;
            }
        }
        *active_buttons = count;
    }

    return BUTTON_STATUS_OK;
}

/**
 * @brief Check if button driver is properly initialized
 */
bool button_driver_is_initialized(void)
{
    return g_button_ctx.initialized;
}

/**
 * @brief Reset all button states and statistics
 */
button_status_t button_driver_reset(void)
{
    if (!g_button_ctx.initialized)
    {
        return BUTTON_STATUS_NOT_INITIALIZED;
    }

    // Reset all button states
    for (int i = 0; i < BUTTON_COUNT; i++)
    {
        button_state_t *state = &g_button_ctx.button_states[i];
        state->current_state = false;
        state->previous_state = false;
        state->press_time = 0;
        state->release_time = 0;
        state->is_pressed = false;
        state->just_pressed = false;
        state->just_released = false;
    }

    // Reset statistics
    g_button_ctx.scan_count = 0;

    // Clear current data
    g_button_ctx.current_data.buttons = 0;
    g_button_ctx.current_data.flags = 0;

    LOG_INF("Button driver state reset");
    return BUTTON_STATUS_OK;
}

/**
 * @brief Get human-readable name for a button ID
 */
const char *button_driver_get_button_name(button_id_t button_id)
{
    if (button_id >= BUTTON_COUNT)
    {
        return "UNKNOWN";
    }

    return button_names[button_id];
}
```
